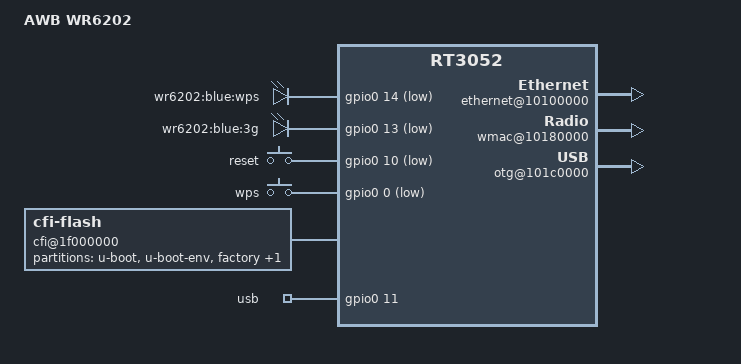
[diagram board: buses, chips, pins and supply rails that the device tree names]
/dts-v1/;

/include/ "rt3050.dtsi"

/ {
	compatible = "WR6202", "ralink,rt3052-soc";
	model = "AWB WR6202";

	chosen {
		bootargs = "console=ttyS0,115200";
	};

	palmbus@10000000 {
		sysc@0 {
			ralink,pinmux = "i2c", "spi", "uartlite", "jtag", "mdio", "sdram", "rgmii";
			ralink,uartmux = "gpio";
			ralink,wdtmux = <1>;
		};

		gpio0: gpio@600 {
			status = "okay";
		};

	};

	gpio-leds {
		compatible = "gpio-leds";
		wps {
			label = "wr6202:blue:wps";
			gpios = <&gpio0 14 1>;
		};
		3g {
			label = "wr6202:blue:3g";
			gpios = <&gpio0 13 1>;
		};
	};

	gpio-keys-polled {
		compatible = "gpio-keys-polled";
		#address-cells = <1>;
		#size-cells = <0>;
		poll-interval = <20>;
		reset {
			label = "reset";
			gpios = <&gpio0 10 1>;
			linux,code = <0x198>;
		};
		wps {
			label = "wps";
			gpios = <&gpio0 0 1>;
			linux,code = <0x211>;
		};
	};

	cfi@1f000000 {
		compatible = "cfi-flash";
		reg = <0x1f000000 0x800000>;

		bank-width = <2>;
		device-width = <2>;
		#address-cells = <1>;
		#size-cells = <1>;

		partition@0 {
			label = "u-boot";
			reg = <0x0 0x30000>;
			read-only;
		};

		partition@30000 {
			label = "u-boot-env";
			reg = <0x30000 0x10000>;
			read-only;
		};

		factory: partition@40000 {
			label = "factory";
			reg = <0x40000 0x10000>;
			read-only;
		};

		partition@50000 {
			label = "firmware";
			reg = <0x50000 0x7b0000>;
		};
	};

	ethernet@10100000 {
		status = "okay";
	};

	esw@10110000 {
		status = "okay";
		ralink,portmap = <0x3e>;
	};

	wmac@10180000 {
		status = "okay";
	};

	otg@101c0000 {
		status = "okay";
	};

	gpio_export {
		compatible = "gpio-export";
		#size-cells = <0>;

		usb {
			gpio-export,name = "usb";
			gpio-export,output = <0>;
			gpios = <&gpio0 11 0>;
		};
	};
};
